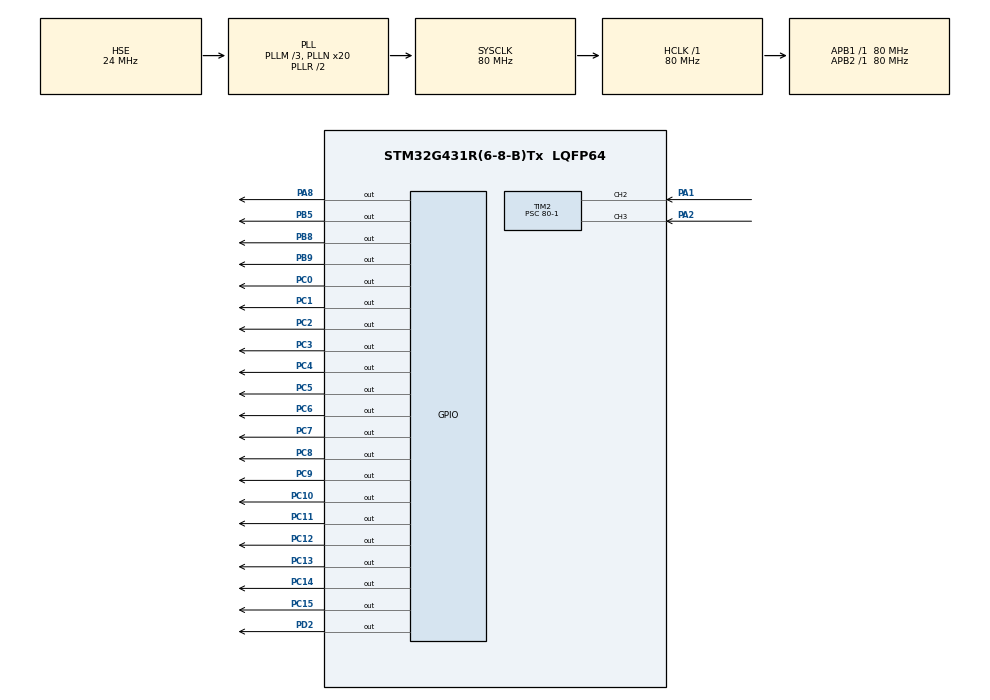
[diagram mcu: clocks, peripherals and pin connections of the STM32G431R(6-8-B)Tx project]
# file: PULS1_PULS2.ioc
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Mcu.Family=STM32G4
Mcu.Name=STM32G431R(6-8-B)Tx
Mcu.Package=LQFP64
NVIC.PriorityGroup=NVIC_PRIORITYGROUP_4
NVIC.TIM2_IRQn=true\:0\:0\:false\:false\:true\:true\:true\:true
PA1.Signal=S_TIM2_CH2
PA13.Mode=Serial_Wire
PA13.Signal=SYS_JTMS-SWDIO
PA14.Mode=Serial_Wire
PA14.Signal=SYS_JTCK-SWCLK
PA2.Signal=S_TIM2_CH3
PA8.Signal=GPIO_Output
PB5.Signal=GPIO_Output
PB8-BOOT0.Signal=GPIO_Output
PB9.Signal=GPIO_Output
PC0.Signal=GPIO_Output
PC1.Signal=GPIO_Output
PC10.PinState=GPIO_PIN_SET
PC10.Signal=GPIO_Output
PC11.PinState=GPIO_PIN_SET
PC11.Signal=GPIO_Output
PC12.PinState=GPIO_PIN_SET
PC12.Signal=GPIO_Output
PC13.PinState=GPIO_PIN_SET
PC13.Signal=GPIO_Output
PC14-OSC32_IN.PinState=GPIO_PIN_SET
PC14-OSC32_IN.Signal=GPIO_Output
PC15-OSC32_OUT.PinState=GPIO_PIN_SET
PC15-OSC32_OUT.Signal=GPIO_Output
PC2.Signal=GPIO_Output
PC3.Signal=GPIO_Output
PC4.Signal=GPIO_Output
PC5.Signal=GPIO_Output
PC6.Signal=GPIO_Output
PC7.Signal=GPIO_Output
PC8.PinState=GPIO_PIN_SET
PC8.Signal=GPIO_Output
PC9.PinState=GPIO_PIN_SET
PC9.Signal=GPIO_Output
PD2.Signal=GPIO_Output
PF0-OSC_IN.Mode=HSE-External-Oscillator
PF0-OSC_IN.Signal=RCC_OSC_IN
PF1-OSC_OUT.Mode=HSE-External-Oscillator
PF1-OSC_OUT.Signal=RCC_OSC_OUT
ProjectManager.HeapSize=0x200
ProjectManager.StackSize=0x400
ProjectManager.TargetToolchain=MDK-ARM V5.32
RCC.ADC12Freq_Value=80000000
RCC.AHBFreq_Value=80000000
RCC.APB1Freq_Value=80000000
RCC.APB1TimFreq_Value=80000000
RCC.APB2Freq_Value=80000000
RCC.APB2TimFreq_Value=80000000
RCC.CortexFreq_Value=80000000
RCC.EXTERNAL_CLOCK_VALUE=12288000
RCC.HCLKFreq_Value=80000000
RCC.HSE_VALUE=24000000
RCC.HSI48_VALUE=48000000
RCC.HSI_VALUE=16000000
RCC.LSE_VALUE=32768
RCC.PLLM=RCC_PLLM_DIV3
RCC.PLLN=20
RCC.PLLSourceVirtual=RCC_PLLSOURCE_HSE
RCC.SYSCLKFreq_VALUE=80000000
RCC.SYSCLKSource=RCC_SYSCLKSOURCE_PLLCLK
RCC.USBFreq_Value=80000000
RCC.VCOOutputFreq_Value=160000000
SH.S_TIM2_CH2.0=TIM2_CH2,Input_Capture2_from_TI2
SH.S_TIM2_CH3.0=TIM2_CH3,Input_Capture3_from_TI3
TIM2.Channel-Input_Capture2_from_TI2=TIM_CHANNEL_2
TIM2.Channel-Input_Capture3_from_TI3=TIM_CHANNEL_3
TIM2.Prescaler=80-1
VP_SYS_VS_DBSignals.Mode=DisableDeadBatterySignals
VP_TIM2_VS_ClockSourceINT.Mode=Internal
board=custom

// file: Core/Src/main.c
/* USER CODE BEGIN Header */
/**
  ******************************************************************************
  * @file           : main.c
  * @brief          : Main program body
  ******************************************************************************
  * @attention
  *
  * Copyright (c) 2024 STMicroelectronics.
  * All rights reserved.
  *
  * This software is licensed under terms that can be found in the LICENSE file
  * in the root directory of this software component.
  * If no LICENSE file comes with this software, it is provided AS-IS.
  *
  ******************************************************************************
  */
/* USER CODE END Header */
#include "main.h"
#include "tim.h"
#include "gpio.h"

/* USER CODE BEGIN Includes */

#include "stdio.h"
#include "string.h"
#include "lcd.h"
#include "led.h"
#include "timer.h"

/* USER CODE END Includes */

/* USER CODE BEGIN PTD */

unsigned char ucled=0x00;
unsigned char lcd_text[30];

__IO uint32_t uwTick_Lcd;

/* USER CODE END PTD */

void SystemClock_Config(void);
/* USER CODE BEGIN PFP */

void lcd_proc(void);

/* USER CODE END PFP */

int main(void)
{

  /* MCU Configuration--------------------------------------------------------*/

  /* Reset of all peripherals, Initializes the Flash interface and the Systick. */
  HAL_Init();

  /* Configure the system clock */
  SystemClock_Config();

  /* Initialize all configured peripherals */
  MX_GPIO_Init();
  MX_TIM2_Init();
  /* USER CODE BEGIN 2 */

    LCD_Init();
    LCD_Clear(Black);
    LCD_SetBackColor(Black);
    LCD_SetTextColor(White);

    led_disp(ucled);
    //开启输入捕获
    HAL_TIM_IC_Start_IT(&htim2,TIM_CHANNEL_2);
    HAL_TIM_IC_Start_IT(&htim2,TIM_CHANNEL_3);
  /* USER CODE END 2 */

  /* Infinite loop */
  while (1)
  {

    /* USER CODE BEGIN 3 */
      lcd_proc();
  }
  /* USER CODE END 3 */
}

void SystemClock_Config(void)
{
  RCC_OscInitTypeDef RCC_OscInitStruct = {0};
  RCC_ClkInitTypeDef RCC_ClkInitStruct = {0};

  /** Configure the main internal regulator output voltage
  */
  HAL_PWREx_ControlVoltageScaling(PWR_REGULATOR_VOLTAGE_SCALE1);

  /** Initializes the RCC Oscillators according to the specified parameters
  * in the RCC_OscInitTypeDef structure.
  */
  RCC_OscInitStruct.OscillatorType = RCC_OSCILLATORTYPE_HSE;
  RCC_OscInitStruct.HSEState = RCC_HSE_ON;
  RCC_OscInitStruct.PLL.PLLState = RCC_PLL_ON;
  RCC_OscInitStruct.PLL.PLLSource = RCC_PLLSOURCE_HSE;
  RCC_OscInitStruct.PLL.PLLM = RCC_PLLM_DIV3;
  RCC_OscInitStruct.PLL.PLLN = 20;
  RCC_OscInitStruct.PLL.PLLP = RCC_PLLP_DIV2;
  RCC_OscInitStruct.PLL.PLLQ = RCC_PLLQ_DIV2;
  RCC_OscInitStruct.PLL.PLLR = RCC_PLLR_DIV2;
  if (HAL_RCC_OscConfig(&RCC_OscInitStruct) != HAL_OK)
  {
    Error_Handler();
  }

  /** Initializes the CPU, AHB and APB buses clocks
  */
  RCC_ClkInitStruct.ClockType = RCC_CLOCKTYPE_HCLK|RCC_CLOCKTYPE_SYSCLK
                              |RCC_CLOCKTYPE_PCLK1|RCC_CLOCKTYPE_PCLK2;
  RCC_ClkInitStruct.SYSCLKSource = RCC_SYSCLKSOURCE_PLLCLK;
  RCC_ClkInitStruct.AHBCLKDivider = RCC_SYSCLK_DIV1;
  RCC_ClkInitStruct.APB1CLKDivider = RCC_HCLK_DIV1;
  RCC_ClkInitStruct.APB2CLKDivider = RCC_HCLK_DIV1;

  if (HAL_RCC_ClockConfig(&RCC_ClkInitStruct, FLASH_LATENCY_2) != HAL_OK)
  {
    Error_Handler();
  }
}

/* USER CODE BEGIN 4 */

void lcd_proc(void)
{
    if((uwTick-uwTick_Lcd)<100)return;
    uwTick_Lcd=uwTick;

    memset(lcd_text,0,sizeof(lcd_text));
    sprintf((char *)lcd_text,"  PULS1_Frq:%dHz  ",PUSL1_frq_T2CH2);
    LCD_DisplayStringLine(Line2,lcd_text);

    memset(lcd_text,0,sizeof(lcd_text));
    sprintf((char *)lcd_text,"  PULS2_Frq:%dHz  ",PUSL2_frq_T2CH3);
    LCD_DisplayStringLine(Line5,lcd_text);

}

/* USER CODE END 4 */

void Error_Handler(void)
{
  __disable_irq();
  while (1)
  {
  }
}
